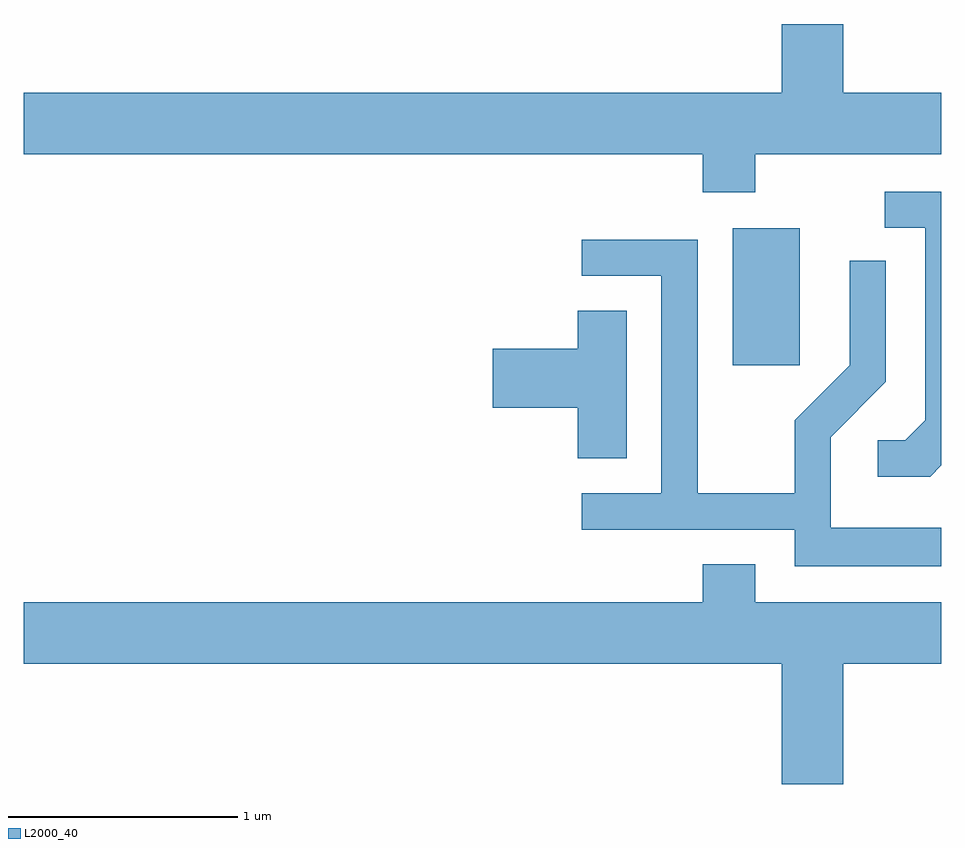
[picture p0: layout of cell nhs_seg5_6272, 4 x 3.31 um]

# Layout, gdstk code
import gdstk
lib = gdstk.Library(unit=1e-6, precision=1e-09)
def R(c, l, rs):  # rectangles x0, y0, x1, y1
    for r in rs: c.add(gdstk.rectangle(r[:2], r[2:], *l))
def P(c, l, *ps):  # polygons
    for p in ps: c.add(gdstk.Polygon(p, *l))
L2000_40 = (2000, 40)

nhs_seg5_6272 = lib.new_cell('nhs_seg5_6272')
R(nhs_seg5_6272, L2000_40, [(374.701,1435.896,374.994,1436.494)])
P(nhs_seg5_6272, L2000_40, [(374.799,1436.816),(375.611,1436.816),(375.611,1437.084),(375.184,1437.084),(375.184,1437.384),(374.916,1437.384),(374.916,1437.084),(371.611,1437.084),(371.611,1436.816),(374.571,1436.816),(374.571,1436.651),(374.799,1436.651)],
  [(375.611,1435.46),(375.611,1436.654),(375.363,1436.654),(375.363,1436.496),(375.541,1436.496),(375.541,1435.657),(375.454,1435.569),(375.333,1435.569),(375.333,1435.411),(375.562,1435.411)],
  [(375.611,1435.189),(375.129,1435.189),(375.129,1435.584),(375.369,1435.824),(375.369,1436.353),(375.211,1436.353),(375.211,1435.897),(374.971,1435.657),(374.971,1435.339),(374.549,1435.339),(374.549,1436.444),(374.043,1436.444),(374.043,1436.286),(374.391,1436.286),(374.391,1435.339),(374.043,1435.339),(374.043,1435.181),(374.971,1435.181),(374.971,1435.021),(375.611,1435.021)],
  [(374.239,1436.134),(374.026,1436.134),(374.026,1435.969),(373.656,1435.969),(373.656,1435.711),(374.026,1435.711),(374.026,1435.491),(374.239,1435.491)],
  [(375.184,1434.596),(375.611,1434.596),(375.611,1434.864),(374.799,1434.864),(374.799,1435.029),(374.571,1435.029),(374.571,1434.864),(371.611,1434.864),(371.611,1434.596),(374.916,1434.596),(374.916,1434.072),(375.184,1434.072)])

lib.write_gds('nhs_seg5_6272.gds')
